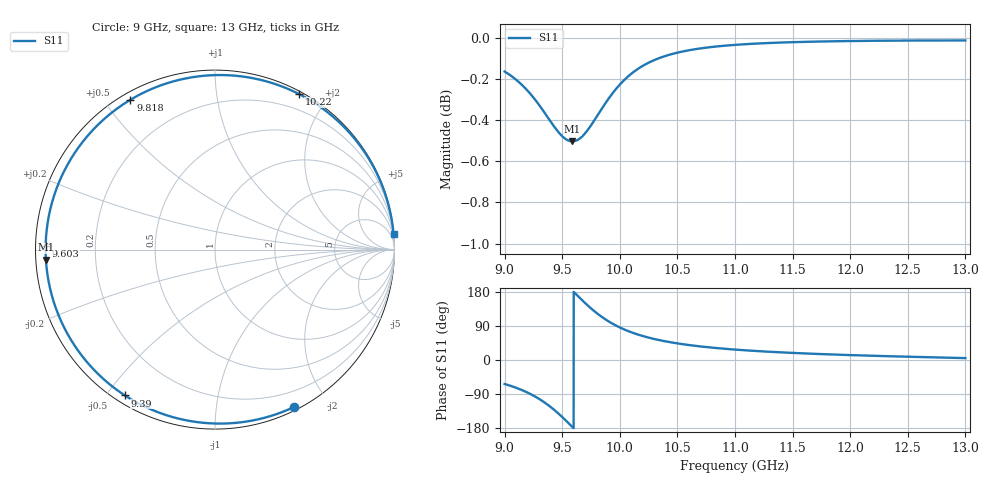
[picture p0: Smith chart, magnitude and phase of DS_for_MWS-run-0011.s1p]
! TOUCHSTONE file generated by CST DESIGN STUDIO
! Date and time: Wed Feb  5 13:37:30 2025
! Project name: C:\Work\MatlabApps\UnitCellOptimizationMatlab\CST\unitcell.cst
! Tree item: Tasks\Sweep1\SPara1\S-Parameters
! Header version: 2024
! Port assignment regex: !\s*Touchstone port\s*([0-9]+)\s*=\s*(CST MWS port|CST DES external port|CST DES block port)\s*(.+)\s* \(\"(.*)\"\)(\s*mode\s*([0-9]+))?.*
! Touchstone port assignment:
! Touchstone port 1 = CST DES external port 1 ("")
# GHz S MA R 50
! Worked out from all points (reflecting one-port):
!   4001 points, 9 GHz to 13 GHz, reference 50 ohm
!   lowest |S11| = -0.5 dB at 9.588 GHz (marker M1), VSWR 34.51, Z = 1.45 - j1.48 ohm
!   phase of S11 starts at -63 deg and turns -292 deg over the sweep
!   S11 on the Smith chart (normalised r, x): 9 GHz: 0.03, -1.62; 9.39 GHz: 0.03, -0.56; 9.603 GHz: 0.03, +0.01; 9.818 GHz: 0.03, +0.58; 10.22 GHz: 0.03, +1.67; 13 GHz: 0, +23
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9  0.9813 -63.3
9.049  0.9793 -67.9
9.119  0.9758 -75.5
9.239  0.968 -92.1
9.319  0.9614 -106.4
9.39  0.9551 -121.7
9.445  0.9503 -135.3
9.5  0.9464 -150.4
9.545  0.9444 -163.6
9.588  0.9437 -176.6
9.603  0.9438 178.8
9.658  0.9455 162.2
9.719  0.9495 144.6
9.768  0.9538 131.5
9.818  0.9586 119.5
9.858  0.9625 110.7
9.901  0.9664 102.2
10  0.9742 85.9
10.104  0.9803 72.7
10.218  0.9851 61.7
10.348  0.9888 52.1
10.5  0.9917 43.8
10.72  0.9943 35.1
11  0.9961 27.5
11.5  0.9976 18.7
12  0.9982 13.0
12.5  0.9985 8.6
13  0.9985 5.0
